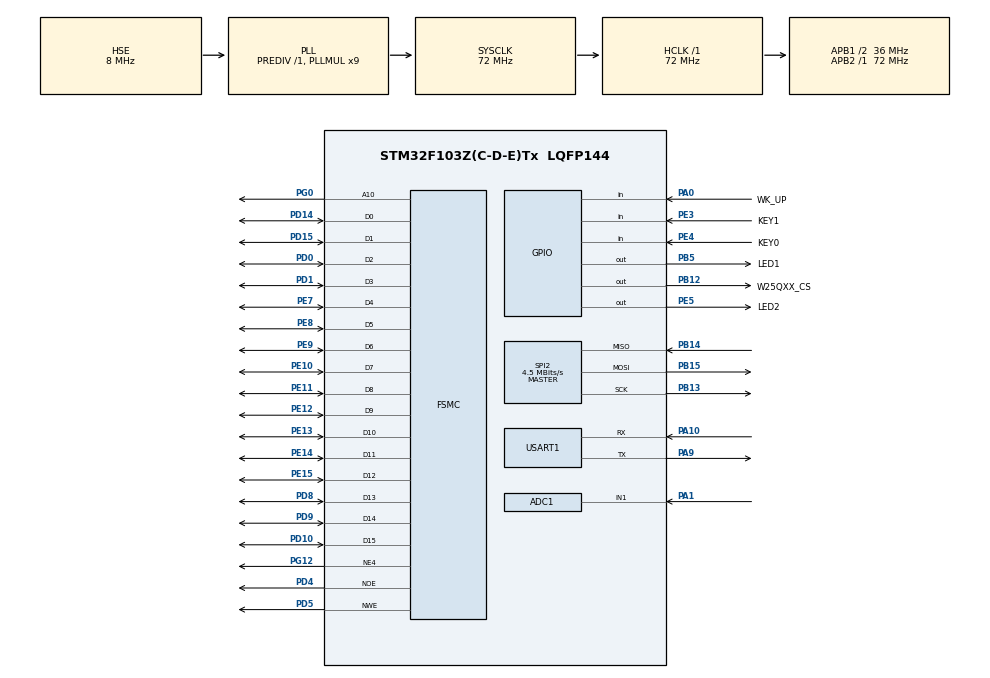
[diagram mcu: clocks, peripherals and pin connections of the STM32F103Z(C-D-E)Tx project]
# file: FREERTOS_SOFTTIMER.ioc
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ADC1.Channel-3\#ChannelRegularConversion=ADC_CHANNEL_1
ADC1.ExternalTrigConv=ADC_EXTERNALTRIGCONV_T3_TRGO
ADC1.NbrOfConversionFlag=1
ADC1.Rank-3\#ChannelRegularConversion=1
ADC1.SamplingTime-3\#ChannelRegularConversion=ADC_SAMPLETIME_1CYCLE_5
ADC1.master=1
FREERTOS.BinarySemaphores01=BinSem_DataReady,Dynamic,NULL
FREERTOS.INCLUDE_xEventGroupSetBitFromISR=1
FREERTOS.INCLUDE_xTaskAbortDelay=1
FREERTOS.INCLUDE_xTaskGetCurrentTaskHandle=1
FREERTOS.INCLUDE_xTaskGetHandle=1
FREERTOS.Queues01=Queue_Keys,10,uint8_t,0,Dynamic,NULL,NULL
FREERTOS.Tasks01=Task_Main,24,128,AppTask_Main,Default,NULL,Dynamic,NULL,NULL
FREERTOS.Timers01=Timer_Periodic,AppTimer_Periodic,osTimerPeriodic,Default,NULL,Dynamic,NULL;Timer_Once,AppTimer_Once,osTimerOnce,Default,NULL,Dynamic,NULL
FSMC.AddressSetupTime4=6
FSMC.BusTurnAroundDuration4=0
FSMC.DataSetupTime4=26
FSMC.ExtendedAddressSetupTime4=3
FSMC.ExtendedBusTurnAroundDuration4=0
FSMC.ExtendedDataSetupTime4=6
FSMC.ExtendedMode4=FSMC_EXTENDED_MODE_ENABLE
Mcu.Family=STM32F1
Mcu.Name=STM32F103Z(C-D-E)Tx
Mcu.Package=LQFP144
NVIC.PriorityGroup=NVIC_PRIORITYGROUP_4
NVIC.RTC_Alarm_IRQn=true\:5\:0\:false\:false\:true\:true\:true\:true\:true
NVIC.RTC_IRQn=true\:5\:0\:false\:false\:true\:true\:true\:true\:true
NVIC.TIM6_IRQn=true\:15\:0\:false\:false\:true\:false\:false\:true\:true
NVIC.TimeBase=TIM6_IRQn
NVIC.TimeBaseIP=TIM6
NVIC.USART1_IRQn=true\:5\:0\:false\:false\:true\:true\:true\:true\:true
OSC_IN.Mode=HSE-External-Oscillator
OSC_IN.Signal=RCC_OSC_IN
OSC_OUT.Mode=HSE-External-Oscillator
OSC_OUT.Signal=RCC_OSC_OUT
PA0-WKUP.GPIO_Label=WK_UP
PA0-WKUP.GPIO_PuPd=GPIO_PULLDOWN
PA0-WKUP.Signal=GPIO_Input
PA1.Signal=ADCx_IN1
PA10.Mode=Asynchronous
PA10.Signal=USART1_RX
PA13.Mode=Serial_Wire
PA13.Signal=SYS_JTMS-SWDIO
PA14.Mode=Serial_Wire
PA14.Signal=SYS_JTCK-SWCLK
PA9.Mode=Asynchronous
PA9.Signal=USART1_TX
PB12.GPIO_Label=W25QXX_CS
PB12.GPIO_PuPd=GPIO_PULLUP
PB12.GPIO_Speed=GPIO_SPEED_FREQ_HIGH
PB12.PinState=GPIO_PIN_SET
PB12.Signal=GPIO_Output
PB13.Mode=Full_Duplex_Master
PB13.Signal=SPI2_SCK
PB14.Mode=Full_Duplex_Master
PB14.Signal=SPI2_MISO
PB15.Mode=Full_Duplex_Master
PB15.Signal=SPI2_MOSI
PB5.GPIO_Label=LED1
PB5.GPIO_Speed=GPIO_SPEED_FREQ_HIGH
PB5.Signal=GPIO_Output
PC14-OSC32_IN.Mode=LSE-External-Oscillator
PC14-OSC32_IN.Signal=RCC_OSC32_IN
PC15-OSC32_OUT.Mode=LSE-External-Oscillator
PC15-OSC32_OUT.Signal=RCC_OSC32_OUT
PD0.Signal=FSMC_D2_DA2
PD1.Signal=FSMC_D3_DA3
PD10.Signal=FSMC_D15_DA15
PD14.Signal=FSMC_D0_DA0
PD15.Signal=FSMC_D1_DA1
PD4.Signal=FSMC_NOE
PD5.Signal=FSMC_NWE
PD8.Signal=FSMC_D13_DA13
PD9.Signal=FSMC_D14_DA14
PE10.Signal=FSMC_D7_DA7
PE11.Signal=FSMC_D8_DA8
PE12.Signal=FSMC_D9_DA9
PE13.Signal=FSMC_D10_DA10
PE14.Signal=FSMC_D11_DA11
PE15.Signal=FSMC_D12_DA12
PE3.GPIO_Label=KEY1
PE3.GPIO_PuPd=GPIO_PULLUP
PE3.Signal=GPIO_Input
PE4.GPIO_Label=KEY0
PE4.GPIO_PuPd=GPIO_PULLUP
PE4.Signal=GPIO_Input
PE5.GPIO_Label=LED2
PE5.GPIO_Speed=GPIO_SPEED_FREQ_HIGH
PE5.Signal=GPIO_Output
PE7.Signal=FSMC_D4_DA4
PE8.Signal=FSMC_D5_DA5
PE9.Signal=FSMC_D6_DA6
PG0.Signal=FSMC_A10
PG12.Mode=NorPsramChipSelect4_4
PG12.Signal=FSMC_NE4
ProjectManager.HeapSize=0x200
ProjectManager.StackSize=0x400
ProjectManager.TargetToolchain=STM32CubeIDE
RCC.AHBFreq_Value=72000000
RCC.APB1CLKDivider=RCC_HCLK_DIV2
RCC.APB1Freq_Value=36000000
RCC.APB1TimFreq_Value=72000000
RCC.APB2Freq_Value=72000000
RCC.APB2TimFreq_Value=72000000
RCC.HCLKFreq_Value=72000000
RCC.PLLMUL=RCC_PLL_MUL9
RCC.PLLSourceVirtual=RCC_PLLSOURCE_HSE
RCC.RTCClockSelection=RCC_RTCCLKSOURCE_LSE
RCC.SYSCLKFreq_VALUE=72000000
RCC.SYSCLKSource=RCC_SYSCLKSOURCE_PLLCLK
RCC.USBFreq_Value=72000000
RTC.AutoPrediv=RTC_AUTO_1_SECOND
RTC.Format=RTC_FORMAT_BIN
SH.ADCx_IN1.0=ADC1_IN1,IN1
SH.FSMC_A10.0=FSMC_A10,A10_4
SH.FSMC_D0_DA0.0=FSMC_D0,16b-d4
SH.FSMC_D10_DA10.0=FSMC_D10,16b-d4
SH.FSMC_D11_DA11.0=FSMC_D11,16b-d4
SH.FSMC_D12_DA12.0=FSMC_D12,16b-d4
SH.FSMC_D13_DA13.0=FSMC_D13,16b-d4
SH.FSMC_D14_DA14.0=FSMC_D14,16b-d4
SH.FSMC_D15_DA15.0=FSMC_D15,16b-d4
SH.FSMC_D1_DA1.0=FSMC_D1,16b-d4
SH.FSMC_D2_DA2.0=FSMC_D2,16b-d4
SH.FSMC_D3_DA3.0=FSMC_D3,16b-d4
SH.FSMC_D4_DA4.0=FSMC_D4,16b-d4
SH.FSMC_D5_DA5.0=FSMC_D5,16b-d4
SH.FSMC_D6_DA6.0=FSMC_D6,16b-d4
SH.FSMC_D7_DA7.0=FSMC_D7,16b-d4
SH.FSMC_D8_DA8.0=FSMC_D8,16b-d4
SH.FSMC_D9_DA9.0=FSMC_D9,16b-d4
SH.FSMC_NOE.0=FSMC_NOE,Lcd4
SH.FSMC_NWE.0=FSMC_NWE,Lcd4
SPI2.BaudRatePrescaler=SPI_BAUDRATEPRESCALER_8
SPI2.CLKPhase=SPI_PHASE_2EDGE
SPI2.CLKPolarity=SPI_POLARITY_HIGH
SPI2.CRCCalculation=SPI_CRCCALCULATION_DISABLE
SPI2.CalculateBaudRate=4.5 MBits/s
SPI2.Direction=SPI_DIRECTION_2LINES
SPI2.Mode=SPI_MODE_MASTER
SPI2.VirtualType=VM_MASTER
TIM3.AutoReloadPreload=TIM_AUTORELOAD_PRELOAD_DISABLE
TIM3.Period=4999
TIM3.Prescaler=7199
TIM3.TIM_MasterOutputTrigger=TIM_TRGO_RESET
USART1.VirtualMode=VM_ASYNC
VP_FREERTOS_VS_CMSIS_V2.Mode=CMSIS_V2
VP_RTC_VS_RTC_Activate.Mode=RTC_Enabled
VP_SYS_VS_tim6.Mode=TIM6
VP_TIM3_VS_ClockSourceINT.Mode=Internal
board=custom

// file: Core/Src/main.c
/* USER CODE BEGIN Header */
/**
  ******************************************************************************
  * @file           : main.c
  * @brief          : Main program body
  ******************************************************************************
  * @attention
  *
  * Copyright (c) 2023 STMicroelectronics.
  * All rights reserved.
  *
  * This software is licensed under terms that can be found in the LICENSE file
  * in the root directory of this software component.
  * If no LICENSE file comes with this software, it is provided AS-IS.
  *
  ******************************************************************************
  */
/* USER CODE END Header */
#include "main.h"
#include "cmsis_os.h"
#include "adc.h"
#include "rtc.h"
#include "spi.h"
#include "tim.h"
#include "usart.h"
#include "gpio.h"
#include "fsmc.h"

/* USER CODE BEGIN Includes */
#include "stdio.h"
#include "lcd.h"
#include "w25qxx.h"
#include <string.h>
/* USER CODE END Includes */

void SystemClock_Config(void);
void MX_FREERTOS_Init(void);

int main(void)
{
  /* USER CODE BEGIN 1 */
	int x = 0,FLASH_SIZE,id;
	u8 lcd_id[12],datatemp[20];						//存放LCD ID字符�?????????????????????????
  /* USER CODE END 1 */

  /* MCU Configuration--------------------------------------------------------*/

  /* Reset of all peripherals, Initializes the Flash interface and the Systick. */
  HAL_Init();

  /* Configure the system clock */
  SystemClock_Config();

  /* Initialize all configured peripherals */
  MX_GPIO_Init();
  MX_USART1_UART_Init();
  MX_FSMC_Init();
  MX_SPI2_Init();
  MX_RTC_Init();
  MX_ADC1_Init();
  MX_TIM3_Init();
  /* USER CODE BEGIN 2 */
	LCD_Init();
	POINT_COLOR=RED;     				//画笔颜色：红�?????????????????????????
//	sprintf((char*)lcd_id,"LCD ID:%04X",lcddev.id);//将LCD ID打印到lcd_id数组�?????????????????????????
	LCD_Clear(WHITE);
//	POINT_COLOR=RED;
	//HAL_ADC_Start_IT(&hadc1); //以中断方式启动ADC
	//HAL_TIM_Base_Start(&htim3); //启动定时�?????????
	//HAL_TIM_Base_Start_IT(&htim3);
	LCD_ShowString(30,40,210,12,12,"Demo9_1:Soft Timer");

  /* USER CODE END 2 */

  /* Init scheduler */
  osKernelInitialize();  /* Call init function for freertos objects (in freertos.c) */
  MX_FREERTOS_Init();

  /* Start scheduler */
  osKernelStart();
  /* We should never get here as control is now taken by the scheduler */
  /* Infinite loop */
  /* USER CODE BEGIN WHILE */
	while (1)
	{

		osDelay(500);
		HAL_GPIO_TogglePin(LED1_GPIO_Port,LED1_Pin);
    /* USER CODE END WHILE */

  }
}

void SystemClock_Config(void)
{
  RCC_OscInitTypeDef RCC_OscInitStruct = {0};
  RCC_ClkInitTypeDef RCC_ClkInitStruct = {0};
  RCC_PeriphCLKInitTypeDef PeriphClkInit = {0};

  /** Initializes the RCC Oscillators according to the specified parameters
  * in the RCC_OscInitTypeDef structure.
  */
  RCC_OscInitStruct.OscillatorType = RCC_OSCILLATORTYPE_HSE|RCC_OSCILLATORTYPE_LSE;
  RCC_OscInitStruct.HSEState = RCC_HSE_ON;
  RCC_OscInitStruct.HSEPredivValue = RCC_HSE_PREDIV_DIV1;
  RCC_OscInitStruct.LSEState = RCC_LSE_ON;
  RCC_OscInitStruct.HSIState = RCC_HSI_ON;
  RCC_OscInitStruct.PLL.PLLState = RCC_PLL_ON;
  RCC_OscInitStruct.PLL.PLLSource = RCC_PLLSOURCE_HSE;
  RCC_OscInitStruct.PLL.PLLMUL = RCC_PLL_MUL9;
  if (HAL_RCC_OscConfig(&RCC_OscInitStruct) != HAL_OK)
  {
    Error_Handler();
  }

  /** Initializes the CPU, AHB and APB buses clocks
  */
  RCC_ClkInitStruct.ClockType = RCC_CLOCKTYPE_HCLK|RCC_CLOCKTYPE_SYSCLK
                              |RCC_CLOCKTYPE_PCLK1|RCC_CLOCKTYPE_PCLK2;
  RCC_ClkInitStruct.SYSCLKSource = RCC_SYSCLKSOURCE_PLLCLK;
  RCC_ClkInitStruct.AHBCLKDivider = RCC_SYSCLK_DIV1;
  RCC_ClkInitStruct.APB1CLKDivider = RCC_HCLK_DIV2;
  RCC_ClkInitStruct.APB2CLKDivider = RCC_HCLK_DIV1;

  if (HAL_RCC_ClockConfig(&RCC_ClkInitStruct, FLASH_LATENCY_2) != HAL_OK)
  {
    Error_Handler();
  }
  PeriphClkInit.PeriphClockSelection = RCC_PERIPHCLK_RTC|RCC_PERIPHCLK_ADC;
  PeriphClkInit.RTCClockSelection = RCC_RTCCLKSOURCE_LSE;
  PeriphClkInit.AdcClockSelection = RCC_ADCPCLK2_DIV2;
  if (HAL_RCCEx_PeriphCLKConfig(&PeriphClkInit) != HAL_OK)
  {
    Error_Handler();
  }
}

/* USER CODE BEGIN 4 */

void delay_us(uint32_t udelay)
{
  uint32_t startval,tickn,delays,wait;

  startval = SysTick->VAL;
  tickn = HAL_GetTick();
  //sysc = 72000;  //SystemCoreClock / (1000U / uwTickFreq);
  delays =udelay * 72; //sysc / 1000 * udelay;
  if(delays > startval)
    {
      while(HAL_GetTick() == tickn)
        {

        }
      wait = 72000 + startval - delays;
      while(wait < SysTick->VAL)
        {

        }
    }
  else
    {
      wait = startval - delays;
      while(wait < SysTick->VAL && HAL_GetTick() == tickn)
        {

        }
    }
}

void delay_ms(uint32_t udelay)
{
	HAL_Delay(udelay);
	//osDelay(udelay);
}
/* USER CODE END 4 */

void HAL_TIM_PeriodElapsedCallback(TIM_HandleTypeDef *htim)
{
  if (htim->Instance == TIM6) {
    HAL_IncTick();
  }
  /* USER CODE BEGIN Callback 1 */
//	else
//	{
//		FreeRtosHardwareTimeISR(htim);
//	}

  /* USER CODE END Callback 1 */
}

void Error_Handler(void)
{
  __disable_irq();
  while (1)
  {
  }
}

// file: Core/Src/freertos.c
/* USER CODE BEGIN Header */
/**
  ******************************************************************************
  * File Name          : freertos.c
  * Description        : Code for freertos applications
  ******************************************************************************
  * @attention
  *
  * Copyright (c) 2023 STMicroelectronics.
  * All rights reserved.
  *
  * This software is licensed under terms that can be found in the LICENSE file
  * in the root directory of this software component.
  * If no LICENSE file comes with this software, it is provided AS-IS.
  *
  ******************************************************************************
  */
/* USER CODE END Header */

#include "FreeRTOS.h"
#include "task.h"
#include "main.h"
#include "cmsis_os.h"

/* USER CODE BEGIN Includes */
#include "lcd.h"
#include "adc.h"
#include "gpio.h"
#include "queue.h"
#include "semphr.h"
#include "event_groups.h" //事件组相关头文件
#include "tim.h"
/* USER CODE END Includes */

/* USER CODE BEGIN PD */
#define BITMASK_KEY_LEFT 0x04 //事件位掩码定�?????
#define BITMASK_KEY_DOWN 0x02
#define BITMASK_KEY_RIGHT 0x01
#define BITMASK_SYNC BITMASK_KEY_LEFT | BITMASK_KEY_DOWN | BITMASK_KEY_RIGHT
/* USER CODE END PD */

/* USER CODE BEGIN Variables */
uint32_t adc_value;
EventGroupHandle_t eventGroupHandle; //事件组对象句�??????
uint32_t counter=0; //计数变量
/* USER CODE END Variables */
/* Definitions for Task_Main */
osThreadId_t Task_MainHandle;
const osThreadAttr_t Task_Main_attributes = {
  .name = "Task_Main",
  .stack_size = 128 * 4,
  .priority = (osPriority_t) osPriorityNormal,
};
/* Definitions for Queue_Keys */
osMessageQueueId_t Queue_KeysHandle;
const osMessageQueueAttr_t Queue_Keys_attributes = {
  .name = "Queue_Keys"
};
/* Definitions for Timer_Periodic */
osTimerId_t Timer_PeriodicHandle;
const osTimerAttr_t Timer_Periodic_attributes = {
  .name = "Timer_Periodic"
};
/* Definitions for Timer_Once */
osTimerId_t Timer_OnceHandle;
const osTimerAttr_t Timer_Once_attributes = {
  .name = "Timer_Once"
};
/* Definitions for BinSem_DataReady */
osSemaphoreId_t BinSem_DataReadyHandle;
const osSemaphoreAttr_t BinSem_DataReady_attributes = {
  .name = "BinSem_DataReady"
};

void AppTask_Main(void *argument);
void AppTimer_Periodic(void *argument);
void AppTimer_Once(void *argument);

void MX_FREERTOS_Init(void); /* (MISRA C 2004 rule 8.1) */

void MX_FREERTOS_Init(void) {

  /* Create the semaphores(s) */
  /* creation of BinSem_DataReady */
  BinSem_DataReadyHandle = osSemaphoreNew(1, 1, &BinSem_DataReady_attributes);

  /* Create the timer(s) */
  /* creation of Timer_Periodic */
  Timer_PeriodicHandle = osTimerNew(AppTimer_Periodic, osTimerPeriodic, NULL, &Timer_Periodic_attributes);

  /* creation of Timer_Once */
  Timer_OnceHandle = osTimerNew(AppTimer_Once, osTimerOnce, NULL, &Timer_Once_attributes);

  /* Create the queue(s) */
  /* creation of Queue_Keys */
  Queue_KeysHandle = osMessageQueueNew (10, sizeof(uint8_t), &Queue_Keys_attributes);

  /* USER CODE BEGIN RTOS_QUEUES */
  /* add queues, ... */
  eventGroupHandle= xEventGroupCreate(); //创建事件�??????
  /* USER CODE END RTOS_QUEUES */

  /* Create the thread(s) */
  /* creation of Task_Main */
  Task_MainHandle = osThreadNew(AppTask_Main, NULL, &Task_Main_attributes);

}

void AppTask_Main(void *argument)
{
  /* USER CODE BEGIN AppTask_Main */
	xTimerChangePeriod( Timer_PeriodicHandle, pdMS_TO_TICKS(1000), portMAX_DELAY);
	xTimerChangePeriod( Timer_OnceHandle, pdMS_TO_TICKS(5000), portMAX_DELAY);
	xTimerStart( Timer_PeriodicHandle,portMAX_DELAY);
	xTimerStart( Timer_OnceHandle,portMAX_DELAY);
  /* Infinite loop */
	for(;;)
	{
		if(KEY0 == KEY_DOWN)
		{
			counter = 0;
			if(xTimerIsTimerActive(Timer_OnceHandle) == pdFALSE)
			{
				HAL_GPIO_WritePin(LED2_GPIO_Port, LED2_Pin,GPIO_PIN_RESET);
				xTimerReset(Timer_OnceHandle,portMAX_DELAY);
			}
		}
		vTaskDelay(10);
	}
  /* USER CODE END AppTask_Main */
}

/* AppTimer_Periodic function */
void AppTimer_Periodic(void *argument)
{
  /* USER CODE BEGIN AppTimer_Periodic */
	counter++;
	LCD_ShowNum(150,60,counter,4,12);
	HAL_GPIO_TogglePin(LED1_GPIO_Port, LED1_Pin);
  /* USER CODE END AppTimer_Periodic */
}

/* AppTimer_Once function */
void AppTimer_Once(void *argument)
{
  /* USER CODE BEGIN AppTimer_Once */
	HAL_GPIO_WritePin(LED2_GPIO_Port, LED2_Pin,GPIO_PIN_SET);
  /* USER CODE END AppTimer_Once */
}

/* USER CODE BEGIN Application */
//void FreeRtosHardwareTimeISR(TIM_HandleTypeDef *htim)
//{
//	if(htim->Instance == TIM3)
//	{
//		HAL_GPIO_TogglePin(LED1_GPIO_Port, LED1_Pin);
//		BaseType_t taskWoken = pdFALSE;
//		vTaskNotifyGiveFromISR(Task_ChecklnHandle, &taskWoken);
//		portYIELD_FROM_ISR(taskWoken);
//	}
//}
//void HAL_TIM_PeriodElapsedCallback(TIM_HandleTypeDef *htim)
//{
//
//}
//void HAL_ADC_ConvCpltCallback(ADC_HandleTypeDef* hadc)
//{
//	if(hadc->Instance == ADC1)
//	{
//		adc_value = HAL_ADC_GetValue(hadc);
//		if(Task_ShowHandle != NULL)
//		{
//			BaseType_t taskWoken = pdFALSE;
//			//xSemaphoreGiveFromISR(BinSem_DataReadyHandle,&highTaskWoken);
//			xTaskNotifyFromISR(Task_ShowHandle,adc_value,eSetValueWithOverwrite,&taskWoken);
//			portYIELD_FROM_ISR(taskWoken);
//		}
//	}
//}
/* USER CODE END Application */
